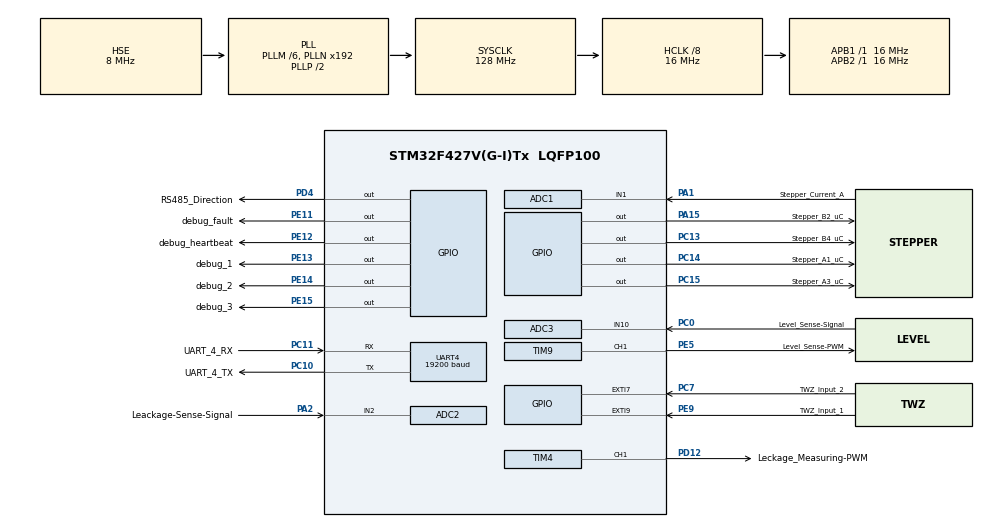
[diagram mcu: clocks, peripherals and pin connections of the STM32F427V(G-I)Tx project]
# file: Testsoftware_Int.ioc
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ADC1.Channel-5\#ChannelRegularConversion=ADC_CHANNEL_1
ADC1.ClockPrescaler=ADC_CLOCK_SYNC_PCLK_DIV8
ADC1.ContinuousConvMode=ENABLE
ADC1.NbrOfConversionFlag=1
ADC1.Rank-5\#ChannelRegularConversion=1
ADC1.SamplingTime-5\#ChannelRegularConversion=ADC_SAMPLETIME_3CYCLES
ADC1.master=1
ADC2.Channel-4\#ChannelRegularConversion=ADC_CHANNEL_2
ADC2.ClockPrescaler=ADC_CLOCK_SYNC_PCLK_DIV8
ADC2.ContinuousConvMode=ENABLE
ADC2.NbrOfConversionFlag=1
ADC2.Rank-4\#ChannelRegularConversion=1
ADC2.SamplingTime-4\#ChannelRegularConversion=ADC_SAMPLETIME_3CYCLES
ADC3.Channel-0\#ChannelRegularConversion=ADC_CHANNEL_10
ADC3.ClockPrescaler=ADC_CLOCK_SYNC_PCLK_DIV8
ADC3.ContinuousConvMode=ENABLE
ADC3.NbrOfConversionFlag=1
ADC3.Rank-0\#ChannelRegularConversion=1
ADC3.SamplingTime-0\#ChannelRegularConversion=ADC_SAMPLETIME_3CYCLES
Mcu.Family=STM32F4
Mcu.Name=STM32F427V(G-I)Tx
Mcu.Package=LQFP100
NVIC.EXTI9_5_IRQn=true\:13\:0\:true\:false\:true\:true\:true\:true
NVIC.PriorityGroup=NVIC_PRIORITYGROUP_4
NVIC.RCC_IRQn=true\:14\:0\:true\:false\:true\:true\:false\:true
NVIC.TIM1_UP_TIM10_IRQn=true\:0\:0\:false\:false\:true\:true\:true\:true
NVIC.UART4_IRQn=true\:0\:0\:false\:false\:true\:true\:true\:true
PA1.GPIO_Label=Stepper_Current_A
PA1.Signal=ADCx_IN1
PA13.Mode=Serial_Wire
PA13.Signal=SYS_JTMS-SWDIO
PA14.Mode=Serial_Wire
PA14.Signal=SYS_JTCK-SWCLK
PA15.GPIO_Label=Stepper_B2_uC
PA15.Signal=GPIO_Output
PA2.GPIO_Label=Leackage-Sense-Signal
PA2.Signal=ADCx_IN2
PC0.GPIO_Label=Level_Sense-Signal
PC0.Signal=ADCx_IN10
PC10.GPIO_Label=UART_4_TX
PC10.Mode=Asynchronous
PC10.Signal=UART4_TX
PC11.GPIO_Label=UART_4_RX
PC11.Mode=Asynchronous
PC11.Signal=UART4_RX
PC13.GPIO_Label=Stepper_B4_uC
PC13.Signal=GPIO_Output
PC14/OSC32_IN.GPIO_Label=Stepper_A1_uC
PC14/OSC32_IN.Signal=GPIO_Output
PC15/OSC32_OUT.GPIO_Label=Stepper_A3_uC
PC15/OSC32_OUT.Signal=GPIO_Output
PC7.GPIO_Label=TWZ_Input_2
PC7.Signal=GPXTI7
PD12.GPIO_Label=Leckage_Measuring-PWM
PD12.Signal=S_TIM4_CH1
PD4.GPIO_Label=RS485_Direction
PD4.Signal=GPIO_Output
PE11.GPIO_Label=debug_fault
PE11.Signal=GPIO_Output
PE12.GPIO_Label=debug_heartbeat
PE12.Signal=GPIO_Output
PE13.GPIO_Label=debug_1
PE13.Signal=GPIO_Output
PE14.GPIO_Label=debug_2
PE14.Signal=GPIO_Output
PE15.GPIO_Label=debug_3
PE15.Signal=GPIO_Output
PE5.GPIO_Label=Level_Sense-PWM
PE5.Signal=S_TIM9_CH1
PE9.GPIO_Label=TWZ_Input_1
PE9.Signal=GPXTI9
PH0/OSC_IN.Mode=HSE-External-Oscillator
PH0/OSC_IN.Signal=RCC_OSC_IN
PH1/OSC_OUT.Mode=HSE-External-Oscillator
PH1/OSC_OUT.Signal=RCC_OSC_OUT
ProjectManager.HeapSize=0x200
ProjectManager.StackSize=0x400
ProjectManager.TargetToolchain=STM32CubeIDE
RCC.48MHZClocksFreq_Value=64000000
RCC.AHBCLKDivider=RCC_SYSCLK_DIV8
RCC.AHBFreq_Value=16000000
RCC.APB1Freq_Value=16000000
RCC.APB1TimFreq_Value=16000000
RCC.APB2Freq_Value=16000000
RCC.APB2TimFreq_Value=16000000
RCC.CortexFreq_Value=16000000
RCC.HCLKFreq_Value=16000000
RCC.HSE_VALUE=8000000
RCC.HSI_VALUE=16000000
RCC.LSE_VALUE=32768
RCC.PLLM=6
RCC.PLLSourceVirtual=RCC_PLLSOURCE_HSE
RCC.SYSCLKFreq_VALUE=128000000
RCC.SYSCLKSource=RCC_SYSCLKSOURCE_PLLCLK
RCC.VCOOutputFreq_Value=256000000
SH.ADCx_IN1.0=ADC1_IN1,IN1
SH.ADCx_IN10.0=ADC3_IN10,IN10
SH.ADCx_IN2.0=ADC2_IN2,IN2
SH.S_TIM4_CH1.0=TIM4_CH1,PWM Generation1 CH1
SH.S_TIM9_CH1.0=TIM9_CH1,PWM Generation1 CH1
TIM1.Period=99
TIM1.Prescaler=15
TIM2.AutoReloadPreload=TIM_AUTORELOAD_PRELOAD_ENABLE
TIM2.Period=65535
TIM2.Prescaler=47
TIM4.AutoReloadPreload=TIM_AUTORELOAD_PRELOAD_DISABLE
TIM4.Channel-Output\ Compare2\ No\ Output=TIM_CHANNEL_2
TIM4.Channel-PWM\ Generation1\ CH1=TIM_CHANNEL_1
TIM4.OC1Preload_PWM=DISABLE
TIM4.Period=99
TIM4.Prescaler=15
TIM4.Pulse-PWM\ Generation1\ CH1=50
TIM9.Channel-PWM\ Generation1\ CH1=TIM_CHANNEL_1
TIM9.OC1Preload_PWM=DISABLE
TIM9.Period=99
TIM9.Prescaler=15
TIM9.Pulse-PWM\ Generation1\ CH1=50
UART4.BaudRate=19200
UART4.VirtualMode=Asynchronous
VP_TIM10_VS_ClockSourceINT.Mode=Enable_Timer
VP_TIM1_VS_ClockSourceINT.Mode=Internal
VP_TIM2_VS_ClockSourceINT.Mode=Internal
VP_TIM4_VS_ClockSourceINT.Mode=Internal
VP_TIM4_VS_no_output2.Mode=Output Compare2 No Output
VP_TIM9_VS_ClockSourceINT.Mode=Internal
board=custom

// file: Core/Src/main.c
/* USER CODE BEGIN Header */
/**
 ******************************************************************************
 * @file           : main.c
 * @brief          : Main program body
 ******************************************************************************
 * @attention
 *
 * Copyright (c) 2026 STMicroelectronics.
 * All rights reserved.
 *
 * This software is licensed under terms that can be found in the LICENSE file
 * in the root directory of this software component.
 * If no LICENSE file comes with this software, it is provided AS-IS.
 *
 ******************************************************************************
 */
/* USER CODE END Header */
#include "main.h"

/* USER CODE BEGIN Includes */
#include "ModbusRTU_Registers.h"
#include "ModbusRTU_Logic.h"
#include "ModbusRTU_Comm.h"
#include "periphals.h"
#include <stdint.h>
#include <stdlib.h>

/* USER CODE END Includes */

ADC_HandleTypeDef hadc1;
ADC_HandleTypeDef hadc2;
ADC_HandleTypeDef hadc3;

TIM_HandleTypeDef htim1;
TIM_HandleTypeDef htim2;
TIM_HandleTypeDef htim4;
TIM_HandleTypeDef htim9;
TIM_HandleTypeDef htim10;

UART_HandleTypeDef huart4;

/* USER CODE BEGIN PV */
volatile uint32_t heartbeat_counter = 0;

volatile uint32_t freq_counter = 0;

extern uint8_t beep;
stepper Stepper_1;
StepperPins Stepper_1_Pins = {
Stepper_A1_uC_GPIO_Port, Stepper_A1_uC_Pin,
Stepper_A3_uC_GPIO_Port, Stepper_A3_uC_Pin,
Stepper_B2_uC_GPIO_Port, Stepper_B2_uC_Pin,
Stepper_B4_uC_GPIO_Port, Stepper_B4_uC_Pin };

conductivity Level_sensing;
conductivity Leackage;
volatile float level_voltage_threshold = 2.0;
volatile float leackage_voltage_threshold = 2.0;

volatile uint32_t flowmeter_outlet_counter;
volatile uint32_t flowmeter_regeneration_counter;
flowmeter Flowmeter_Outlet;
flowmeter Flowmeter_Regeneration;

uint16_t slave_adress = 0x02;
bool uart_rx_callback_completed = false;
uint8_t rx_buffer_temp[MODBUS_MAX_MESSAGE_LENGTH]; // Temporary receive buffer
uint8_t rx_temp_byte;                           // temporary byte
uint16_t rx_index = 0;                         // note index
//volatile uint32_t adc_leackage = 0;
/* USER CODE END PV */

void SystemClock_Config(void);
static void MX_GPIO_Init(void);
static void MX_ADC1_Init(void);
static void MX_ADC2_Init(void);
static void MX_TIM1_Init(void);
static void MX_TIM4_Init(void);
static void MX_TIM9_Init(void);
static void MX_TIM10_Init(void);
static void MX_UART4_Init(void);
static void MX_ADC3_Init(void);
static void MX_TIM2_Init(void);

int main(void) {

	/* MCU Configuration--------------------------------------------------------*/

	/* Reset of all peripherals, Initializes the Flash interface and the Systick. */
	HAL_Init();

	/* Configure the system clock */
	SystemClock_Config();

	/* Initialize all configured peripherals */
	MX_GPIO_Init();
	MX_ADC1_Init();
	MX_ADC2_Init();
	MX_TIM1_Init();
	MX_TIM4_Init();
	MX_TIM9_Init();
	MX_TIM10_Init();
	MX_UART4_Init();
	MX_ADC3_Init();
	MX_TIM2_Init();
	/* USER CODE BEGIN 2 */
	initialize_peripherals();

	//Stepper1 Init
	stepper_init_hardware(&Stepper_1, &Stepper_1_Pins);
	stepper_init_parameters(&Stepper_1, 200, 80, 10000, 0);
	uint32_t positions[6] = { 0, 1000, 2000, 3000, 4000, 5000 };
	//stepper_init_positions(&Stepper_1, positions); //uncomment if removing beep

	//RS485 Init

	analogue_holding_registers[HOLDING_REG_SLAVE_ADDRESS] = slave_adress; // set slave address
	HAL_UART_Receive_IT(&huart4, &rx_temp_byte, 1); // Pause at a length of 3.5 characters according to the Modbus definition
	//HAL_UARTEx_ReceiveToIdle_IT(&huart1, rx_buffer_temp, MODBUS_MAX_MESSAGE_LENGTH); // Pause already at a single character length

	//Resetting Buffer
	memset(rx_buffer, 0, sizeof(rx_buffer));
	memset(rx_buffer_temp, 0, sizeof(rx_buffer_temp));

	//conductivity-Sensing Init
	conductivity_init(&Leackage, leackage_voltage_threshold, hadc2,
	ADC_CHANNEL_2);
	conductivity_init(&Level_sensing, level_voltage_threshold, hadc3,
	ADC_CHANNEL_10);

	//Flowmeter_init
	flowmeter_init(&Flowmeter_Regeneration, 500, 3.90625, 1802.0, 83080.0);
	flowmeter_init(&Flowmeter_Outlet, 500, 3.90625, 1802.0, 83080.0);
	//starting timers
	HAL_TIM_Base_Start_IT(&htim1);
	HAL_TIM_PWM_Start(&htim4, TIM_CHANNEL_1);
	HAL_TIM_PWM_Start(&htim9, TIM_CHANNEL_1);

	//starting ADCs
	HAL_ADC_Start(&hadc1);
	HAL_ADC_Start(&hadc2);
	HAL_ADC_Start(&hadc3);
	/*
	 if (HAL_ADCEx_Calibration_Start(&hadc1) != HAL_OK)
	 {
	 Error_Handler(); // Calibration error
	 }
	 */

	//do beep
	stepper_sound(&Stepper_1);

	//init again because beep
	stepper_init_parameters(&Stepper_1, 200, 80, 10000, 100);
	stepper_init_positions(&Stepper_1, positions);

	//make stepper move
	stepper_set_drivefreq_high(&Stepper_1);
	//stepper_set_target(&Stepper_1, 3);
	stepper_reference(&Stepper_1);

	/* USER CODE END 2 */

	/* Infinite loop */
	/* USER CODE BEGIN WHILE */
	while (1) {

		if (uart_rx_callback_completed) {
			modbus_receive_message(&huart4);
			uart_rx_callback_completed = 0;
		}

		analogue_input_registers[INPUT_REG_OUTPUT_VOLTAGE_1] = 10000;
		/*
		 HAL_ADC_Start(&hadc2);
		 HAL_ADC_PollForConversion(&hadc2, 50);
		 adc_leackage = HAL_ADC_GetValue(&hadc2);
		 */
		if (conductivity_level_reached(&Leackage)) {
			HAL_GPIO_WritePin(debug_2_GPIO_Port, debug_2_Pin, RESET);
		} else {
			HAL_GPIO_WritePin(debug_2_GPIO_Port, debug_2_Pin, SET);
		}
		/*
		 HAL_ADC_Start(&hadc3);
		 HAL_ADC_PollForConversion(&hadc3, 50);
		 adc_leackage = HAL_ADC_GetValue(&hadc3);
		 */
		if (conductivity_level_reached(&Level_sensing)) {
			HAL_GPIO_WritePin(debug_2_GPIO_Port, debug_2_Pin, RESET);
		} else {
			HAL_GPIO_WritePin(debug_2_GPIO_Port, debug_2_Pin, SET);
		}

		if (1) {
			if (flowmeter_get_flow(&Flowmeter_Outlet) > 1.0) {
				HAL_GPIO_WritePin(debug_1_GPIO_Port, debug_1_Pin, SET);
			} else {
				HAL_GPIO_WritePin(debug_1_GPIO_Port, debug_1_Pin, RESET);

			}
		}

		if (1) {
			if (flowmeter_get_flow(&Flowmeter_Regeneration) > 1.0) {
				HAL_GPIO_WritePin(debug_1_GPIO_Port, debug_1_Pin, SET);
			} else {
				HAL_GPIO_WritePin(debug_1_GPIO_Port, debug_1_Pin, RESET);

			}
		}

		if (Stepper_1.current_sum > Stepper_1.stall_limit) {
			HAL_GPIO_WritePin(debug_3_GPIO_Port, debug_3_Pin, SET);
		} else {
			HAL_GPIO_WritePin(debug_3_GPIO_Port, debug_3_Pin, RESET);
		}
		/* USER CODE END WHILE */

	}
}

void SystemClock_Config(void) {
	RCC_OscInitTypeDef RCC_OscInitStruct = { 0 };
	RCC_ClkInitTypeDef RCC_ClkInitStruct = { 0 };

	/** Configure the main internal regulator output voltage
	 */
	__HAL_RCC_PWR_CLK_ENABLE();
	__HAL_PWR_VOLTAGESCALING_CONFIG(PWR_REGULATOR_VOLTAGE_SCALE3);

	/** Initializes the RCC Oscillators according to the specified parameters
	 * in the RCC_OscInitTypeDef structure.
	 */
	RCC_OscInitStruct.OscillatorType = RCC_OSCILLATORTYPE_HSE;
	RCC_OscInitStruct.HSEState = RCC_HSE_ON;
	RCC_OscInitStruct.PLL.PLLState = RCC_PLL_ON;
	RCC_OscInitStruct.PLL.PLLSource = RCC_PLLSOURCE_HSE;
	RCC_OscInitStruct.PLL.PLLM = 6;
	RCC_OscInitStruct.PLL.PLLN = 192;
	RCC_OscInitStruct.PLL.PLLP = RCC_PLLP_DIV2;
	RCC_OscInitStruct.PLL.PLLQ = 4;
	if (HAL_RCC_OscConfig(&RCC_OscInitStruct) != HAL_OK) {
		Error_Handler();
	}

	/** Initializes the CPU, AHB and APB buses clocks
	 */
	RCC_ClkInitStruct.ClockType = RCC_CLOCKTYPE_HCLK | RCC_CLOCKTYPE_SYSCLK
			| RCC_CLOCKTYPE_PCLK1 | RCC_CLOCKTYPE_PCLK2;
	RCC_ClkInitStruct.SYSCLKSource = RCC_SYSCLKSOURCE_PLLCLK;
	RCC_ClkInitStruct.AHBCLKDivider = RCC_SYSCLK_DIV8;
	RCC_ClkInitStruct.APB1CLKDivider = RCC_HCLK_DIV1;
	RCC_ClkInitStruct.APB2CLKDivider = RCC_HCLK_DIV1;

	if (HAL_RCC_ClockConfig(&RCC_ClkInitStruct, FLASH_LATENCY_0) != HAL_OK) {
		Error_Handler();
	}
}

static void MX_ADC1_Init(void) {

	ADC_ChannelConfTypeDef sConfig = { 0 };

	/** Configure the global features of the ADC (Clock, Resolution, Data Alignment and number of conversion)
	 */
	hadc1.Instance = ADC1;
	hadc1.Init.ClockPrescaler = ADC_CLOCK_SYNC_PCLK_DIV8;
	hadc1.Init.Resolution = ADC_RESOLUTION_12B;
	hadc1.Init.ScanConvMode = DISABLE;
	hadc1.Init.ContinuousConvMode = ENABLE;
	hadc1.Init.DiscontinuousConvMode = DISABLE;
	hadc1.Init.ExternalTrigConvEdge = ADC_EXTERNALTRIGCONVEDGE_NONE;
	hadc1.Init.ExternalTrigConv = ADC_SOFTWARE_START;
	hadc1.Init.DataAlign = ADC_DATAALIGN_RIGHT;
	hadc1.Init.NbrOfConversion = 1;
	hadc1.Init.DMAContinuousRequests = DISABLE;
	hadc1.Init.EOCSelection = ADC_EOC_SINGLE_CONV;
	if (HAL_ADC_Init(&hadc1) != HAL_OK) {
		Error_Handler();
	}

	/** Configure for the selected ADC regular channel its corresponding rank in the sequencer and its sample time.
	 */
	sConfig.Channel = ADC_CHANNEL_1;
	sConfig.Rank = 1;
	sConfig.SamplingTime = ADC_SAMPLETIME_3CYCLES;
	if (HAL_ADC_ConfigChannel(&hadc1, &sConfig) != HAL_OK) {
		Error_Handler();
	}

}

static void MX_ADC2_Init(void) {

	ADC_ChannelConfTypeDef sConfig = { 0 };

	/** Configure the global features of the ADC (Clock, Resolution, Data Alignment and number of conversion)
	 */
	hadc2.Instance = ADC2;
	hadc2.Init.ClockPrescaler = ADC_CLOCK_SYNC_PCLK_DIV8;
	hadc2.Init.Resolution = ADC_RESOLUTION_12B;
	hadc2.Init.ScanConvMode = DISABLE;
	hadc2.Init.ContinuousConvMode = ENABLE;
	hadc2.Init.DiscontinuousConvMode = DISABLE;
	hadc2.Init.ExternalTrigConvEdge = ADC_EXTERNALTRIGCONVEDGE_NONE;
	hadc2.Init.ExternalTrigConv = ADC_SOFTWARE_START;
	hadc2.Init.DataAlign = ADC_DATAALIGN_RIGHT;
	hadc2.Init.NbrOfConversion = 1;
	hadc2.Init.DMAContinuousRequests = DISABLE;
	hadc2.Init.EOCSelection = ADC_EOC_SINGLE_CONV;
	if (HAL_ADC_Init(&hadc2) != HAL_OK) {
		Error_Handler();
	}

	/** Configure for the selected ADC regular channel its corresponding rank in the sequencer and its sample time.
	 */
	sConfig.Channel = ADC_CHANNEL_2;
	sConfig.Rank = 1;
	sConfig.SamplingTime = ADC_SAMPLETIME_3CYCLES;
	if (HAL_ADC_ConfigChannel(&hadc2, &sConfig) != HAL_OK) {
		Error_Handler();
	}

}

static void MX_ADC3_Init(void) {

	ADC_ChannelConfTypeDef sConfig = { 0 };

	/** Configure the global features of the ADC (Clock, Resolution, Data Alignment and number of conversion)
	 */
	hadc3.Instance = ADC3;
	hadc3.Init.ClockPrescaler = ADC_CLOCK_SYNC_PCLK_DIV8;
	hadc3.Init.Resolution = ADC_RESOLUTION_12B;
	hadc3.Init.ScanConvMode = DISABLE;
	hadc3.Init.ContinuousConvMode = ENABLE;
	hadc3.Init.DiscontinuousConvMode = DISABLE;
	hadc3.Init.ExternalTrigConvEdge = ADC_EXTERNALTRIGCONVEDGE_NONE;
	hadc3.Init.ExternalTrigConv = ADC_SOFTWARE_START;
	hadc3.Init.DataAlign = ADC_DATAALIGN_RIGHT;
	hadc3.Init.NbrOfConversion = 1;
	hadc3.Init.DMAContinuousRequests = DISABLE;
	hadc3.Init.EOCSelection = ADC_EOC_SINGLE_CONV;
	if (HAL_ADC_Init(&hadc3) != HAL_OK) {
		Error_Handler();
	}

	/** Configure for the selected ADC regular channel its corresponding rank in the sequencer and its sample time.
	 */
	sConfig.Channel = ADC_CHANNEL_10;
	sConfig.Rank = 1;
	sConfig.SamplingTime = ADC_SAMPLETIME_3CYCLES;
	if (HAL_ADC_ConfigChannel(&hadc3, &sConfig) != HAL_OK) {
		Error_Handler();
	}

}

static void MX_TIM1_Init(void) {

	TIM_ClockConfigTypeDef sClockSourceConfig = { 0 };
	TIM_MasterConfigTypeDef sMasterConfig = { 0 };

	htim1.Instance = TIM1;
	htim1.Init.Prescaler = 15;
	htim1.Init.CounterMode = TIM_COUNTERMODE_UP;
	htim1.Init.Period = 99;
	htim1.Init.ClockDivision = TIM_CLOCKDIVISION_DIV1;
	htim1.Init.RepetitionCounter = 0;
	htim1.Init.AutoReloadPreload = TIM_AUTORELOAD_PRELOAD_DISABLE;
	if (HAL_TIM_Base_Init(&htim1) != HAL_OK) {
		Error_Handler();
	}
	sClockSourceConfig.ClockSource = TIM_CLOCKSOURCE_INTERNAL;
	if (HAL_TIM_ConfigClockSource(&htim1, &sClockSourceConfig) != HAL_OK) {
		Error_Handler();
	}
	sMasterConfig.MasterOutputTrigger = TIM_TRGO_RESET;
	sMasterConfig.MasterSlaveMode = TIM_MASTERSLAVEMODE_DISABLE;
	if (HAL_TIMEx_MasterConfigSynchronization(&htim1, &sMasterConfig)
			!= HAL_OK) {
		Error_Handler();
	}

}

static void MX_TIM2_Init(void) {

	TIM_ClockConfigTypeDef sClockSourceConfig = { 0 };
	TIM_MasterConfigTypeDef sMasterConfig = { 0 };

	htim2.Instance = TIM2;
	htim2.Init.Prescaler = 47;
	htim2.Init.CounterMode = TIM_COUNTERMODE_UP;
	htim2.Init.Period = 65535;
	htim2.Init.ClockDivision = TIM_CLOCKDIVISION_DIV1;
	htim2.Init.AutoReloadPreload = TIM_AUTORELOAD_PRELOAD_ENABLE;
	if (HAL_TIM_Base_Init(&htim2) != HAL_OK) {
		Error_Handler();
	}
	sClockSourceConfig.ClockSource = TIM_CLOCKSOURCE_INTERNAL;
	if (HAL_TIM_ConfigClockSource(&htim2, &sClockSourceConfig) != HAL_OK) {
		Error_Handler();
	}
	sMasterConfig.MasterOutputTrigger = TIM_TRGO_RESET;
	sMasterConfig.MasterSlaveMode = TIM_MASTERSLAVEMODE_DISABLE;
	if (HAL_TIMEx_MasterConfigSynchronization(&htim2, &sMasterConfig)
			!= HAL_OK) {
		Error_Handler();
	}

}

static void MX_TIM4_Init(void) {

	TIM_ClockConfigTypeDef sClockSourceConfig = { 0 };
	TIM_MasterConfigTypeDef sMasterConfig = { 0 };
	TIM_OC_InitTypeDef sConfigOC = { 0 };

	htim4.Instance = TIM4;
	htim4.Init.Prescaler = 15;
	htim4.Init.CounterMode = TIM_COUNTERMODE_UP;
	htim4.Init.Period = 99;
	htim4.Init.ClockDivision = TIM_CLOCKDIVISION_DIV1;
	htim4.Init.AutoReloadPreload = TIM_AUTORELOAD_PRELOAD_DISABLE;
	if (HAL_TIM_Base_Init(&htim4) != HAL_OK) {
		Error_Handler();
	}
	sClockSourceConfig.ClockSource = TIM_CLOCKSOURCE_INTERNAL;
	if (HAL_TIM_ConfigClockSource(&htim4, &sClockSourceConfig) != HAL_OK) {
		Error_Handler();
	}
	if (HAL_TIM_PWM_Init(&htim4) != HAL_OK) {
		Error_Handler();
	}
	if (HAL_TIM_OC_Init(&htim4) != HAL_OK) {
		Error_Handler();
	}
	sMasterConfig.MasterOutputTrigger = TIM_TRGO_RESET;
	sMasterConfig.MasterSlaveMode = TIM_MASTERSLAVEMODE_DISABLE;
	if (HAL_TIMEx_MasterConfigSynchronization(&htim4, &sMasterConfig)
			!= HAL_OK) {
		Error_Handler();
	}
	sConfigOC.OCMode = TIM_OCMODE_PWM1;
	sConfigOC.Pulse = 50;
	sConfigOC.OCPolarity = TIM_OCPOLARITY_HIGH;
	sConfigOC.OCFastMode = TIM_OCFAST_DISABLE;
	if (HAL_TIM_PWM_ConfigChannel(&htim4, &sConfigOC, TIM_CHANNEL_1)
			!= HAL_OK) {
		Error_Handler();
	}
	__HAL_TIM_DISABLE_OCxPRELOAD(&htim4, TIM_CHANNEL_1);
	sConfigOC.OCMode = TIM_OCMODE_TIMING;
	sConfigOC.Pulse = 0;
	if (HAL_TIM_OC_ConfigChannel(&htim4, &sConfigOC, TIM_CHANNEL_2) != HAL_OK) {
		Error_Handler();
	}
	HAL_TIM_MspPostInit(&htim4);

}

static void MX_TIM9_Init(void) {

	TIM_ClockConfigTypeDef sClockSourceConfig = { 0 };
	TIM_OC_InitTypeDef sConfigOC = { 0 };

	htim9.Instance = TIM9;
	htim9.Init.Prescaler = 15;
	htim9.Init.CounterMode = TIM_COUNTERMODE_UP;
	htim9.Init.Period = 99;
	htim9.Init.ClockDivision = TIM_CLOCKDIVISION_DIV1;
	htim9.Init.AutoReloadPreload = TIM_AUTORELOAD_PRELOAD_DISABLE;
	if (HAL_TIM_Base_Init(&htim9) != HAL_OK) {
		Error_Handler();
	}
	sClockSourceConfig.ClockSource = TIM_CLOCKSOURCE_INTERNAL;
	if (HAL_TIM_ConfigClockSource(&htim9, &sClockSourceConfig) != HAL_OK) {
		Error_Handler();
	}
	if (HAL_TIM_PWM_Init(&htim9) != HAL_OK) {
		Error_Handler();
	}
	sConfigOC.OCMode = TIM_OCMODE_PWM1;
	sConfigOC.Pulse = 50;
	sConfigOC.OCPolarity = TIM_OCPOLARITY_HIGH;
	sConfigOC.OCFastMode = TIM_OCFAST_DISABLE;
	if (HAL_TIM_PWM_ConfigChannel(&htim9, &sConfigOC, TIM_CHANNEL_1)
			!= HAL_OK) {
		Error_Handler();
	}
	__HAL_TIM_DISABLE_OCxPRELOAD(&htim9, TIM_CHANNEL_1);
	HAL_TIM_MspPostInit(&htim9);

}

static void MX_TIM10_Init(void) {

	htim10.Instance = TIM10;
	htim10.Init.Prescaler = 0;
	htim10.Init.CounterMode = TIM_COUNTERMODE_UP;
	htim10.Init.Period = 65535;
	htim10.Init.ClockDivision = TIM_CLOCKDIVISION_DIV1;
	htim10.Init.AutoReloadPreload = TIM_AUTORELOAD_PRELOAD_DISABLE;
	if (HAL_TIM_Base_Init(&htim10) != HAL_OK) {
		Error_Handler();
	}

}

static void MX_UART4_Init(void) {

	huart4.Instance = UART4;
	huart4.Init.BaudRate = 19200;
	huart4.Init.WordLength = UART_WORDLENGTH_8B;
	huart4.Init.StopBits = UART_STOPBITS_1;
	huart4.Init.Parity = UART_PARITY_NONE;
	huart4.Init.Mode = UART_MODE_TX_RX;
	huart4.Init.HwFlowCtl = UART_HWCONTROL_NONE;
	huart4.Init.OverSampling = UART_OVERSAMPLING_16;
	if (HAL_UART_Init(&huart4) != HAL_OK) {
		Error_Handler();
	}

}

static void MX_GPIO_Init(void) {
	GPIO_InitTypeDef GPIO_InitStruct = { 0 };

	/* GPIO Ports Clock Enable */
	__HAL_RCC_GPIOE_CLK_ENABLE();
	__HAL_RCC_GPIOC_CLK_ENABLE();
	__HAL_RCC_GPIOH_CLK_ENABLE();
	__HAL_RCC_GPIOA_CLK_ENABLE();
	__HAL_RCC_GPIOD_CLK_ENABLE();

	/*Configure GPIO pin Output Level */
	HAL_GPIO_WritePin(GPIOC,
	Stepper_B4_uC_Pin | Stepper_A1_uC_Pin | Stepper_A3_uC_Pin, GPIO_PIN_RESET);

	/*Configure GPIO pin Output Level */
	HAL_GPIO_WritePin(GPIOE,
			debug_fault_Pin | debug_heartbeat_Pin | debug_1_Pin | debug_2_Pin
					| debug_3_Pin, GPIO_PIN_RESET);

	/*Configure GPIO pin Output Level */
	HAL_GPIO_WritePin(Stepper_B2_uC_GPIO_Port, Stepper_B2_uC_Pin,
			GPIO_PIN_RESET);

	/*Configure GPIO pin Output Level */
	HAL_GPIO_WritePin(RS485_Direction_GPIO_Port, RS485_Direction_Pin,
			GPIO_PIN_RESET);

	/*Configure GPIO pins : Stepper_B4_uC_Pin Stepper_A1_uC_Pin Stepper_A3_uC_Pin */
	GPIO_InitStruct.Pin = Stepper_B4_uC_Pin | Stepper_A1_uC_Pin
			| Stepper_A3_uC_Pin;
	GPIO_InitStruct.Mode = GPIO_MODE_OUTPUT_PP;
	GPIO_InitStruct.Pull = GPIO_NOPULL;
	GPIO_InitStruct.Speed = GPIO_SPEED_FREQ_LOW;
	HAL_GPIO_Init(GPIOC, &GPIO_InitStruct);

	/*Configure GPIO pin : TWZ_Input_1_Pin */
	GPIO_InitStruct.Pin = TWZ_Input_1_Pin;
	GPIO_InitStruct.Mode = GPIO_MODE_IT_RISING;
	GPIO_InitStruct.Pull = GPIO_NOPULL;
	HAL_GPIO_Init(TWZ_Input_1_GPIO_Port, &GPIO_InitStruct);

	/*Configure GPIO pins : debug_fault_Pin debug_heartbeat_Pin debug_1_Pin debug_2_Pin
	 debug_3_Pin */
	GPIO_InitStruct.Pin = debug_fault_Pin | debug_heartbeat_Pin | debug_1_Pin
			| debug_2_Pin | debug_3_Pin;
	GPIO_InitStruct.Mode = GPIO_MODE_OUTPUT_PP;
	GPIO_InitStruct.Pull = GPIO_NOPULL;
	GPIO_InitStruct.Speed = GPIO_SPEED_FREQ_LOW;
	HAL_GPIO_Init(GPIOE, &GPIO_InitStruct);

	/*Configure GPIO pin : TWZ_Input_2_Pin */
	GPIO_InitStruct.Pin = TWZ_Input_2_Pin;
	GPIO_InitStruct.Mode = GPIO_MODE_IT_RISING;
	GPIO_InitStruct.Pull = GPIO_NOPULL;
	HAL_GPIO_Init(TWZ_Input_2_GPIO_Port, &GPIO_InitStruct);

	/*Configure GPIO pin : Stepper_B2_uC_Pin */
	GPIO_InitStruct.Pin = Stepper_B2_uC_Pin;
	GPIO_InitStruct.Mode = GPIO_MODE_OUTPUT_PP;
	GPIO_InitStruct.Pull = GPIO_NOPULL;
	GPIO_InitStruct.Speed = GPIO_SPEED_FREQ_LOW;
	HAL_GPIO_Init(Stepper_B2_uC_GPIO_Port, &GPIO_InitStruct);

	/*Configure GPIO pin : RS485_Direction_Pin */
	GPIO_InitStruct.Pin = RS485_Direction_Pin;
	GPIO_InitStruct.Mode = GPIO_MODE_OUTPUT_PP;
	GPIO_InitStruct.Pull = GPIO_NOPULL;
	GPIO_InitStruct.Speed = GPIO_SPEED_FREQ_LOW;
	HAL_GPIO_Init(RS485_Direction_GPIO_Port, &GPIO_InitStruct);

	/* EXTI interrupt init*/
	HAL_NVIC_SetPriority(EXTI9_5_IRQn, 13, 0);
	HAL_NVIC_EnableIRQ(EXTI9_5_IRQn);

}

/* USER CODE BEGIN 4 */
void HAL_GPIO_EXTI_Callback(uint16_t GPIO_Pin) {
	if (GPIO_Pin == TWZ_Input_1_Pin) {
		flowmeter_add_pulse(&Flowmeter_Regeneration);
		//HAL_GPIO_TogglePin(debug_1_GPIO_Port, debug_1_Pin);
	}
	if (GPIO_Pin == TWZ_Input_2_Pin) {
		flowmeter_add_pulse(&Flowmeter_Outlet);
		//HAL_GPIO_TogglePin(debug_2_GPIO_Port, debug_2_Pin);
	}
}

// function for HAL_UARTEx_Receive_IT
void HAL_UART_RxCpltCallback(UART_HandleTypeDef *huart) {

	if (huart->Instance == UART4) {
		if (rx_index < MODBUS_MAX_MESSAGE_LENGTH) {
			rx_buffer_temp[rx_index++] = rx_temp_byte;
		} else {
			modbus_error_handler(MODBUS_ERR_ILLEGAL_DATA_VALUE);
			rx_index = 0;
		}

		__HAL_TIM_SET_COUNTER(&htim2, 0);
		HAL_TIM_Base_Start_IT(&htim2);

		// get next byte
		HAL_UART_Receive_IT(&huart4, &rx_temp_byte, 1);
	}
}

void HAL_TIM_PeriodElapsedCallback(TIM_HandleTypeDef *htim) {

	static uint16_t ramp_i = 20;          // zählt 0..100
	static uint16_t start_psc = 500;      // langsam (anpassen!)
	static uint16_t target_psc = 1;      // wird beim Start übernommen
	static uint32_t current = 0;      // wird beim Start übernommen

	if (htim->Instance == TIM1) {
		if (beep == 1 || Stepper_1.mode == STEPPER_REFERENCING) {

			// Rampe killen: sofort Zielgeschwindigkeit
			if (freq_counter >= Stepper_1.drive_psc) {
				stepper_tick(&Stepper_1);
				freq_counter = 0;

			} else {
				if (freq_counter == (Stepper_1.drive_psc / 2)) {
					Stepper_1.current_last = Stepper_1.current_recent;
					Stepper_1.current_recent = HAL_ADC_GetValue(&hadc3);
					Stepper_1.current_diff_3 = Stepper_1.current_diff_2;
					Stepper_1.current_diff_2 = Stepper_1.current_diff_1;
					Stepper_1.current_diff_1 =
							(int32_t) Stepper_1.current_recent
									- (int32_t) Stepper_1.current_last;
					Stepper_1.current_sum = labs(Stepper_1.current_diff_1)
							+ labs(Stepper_1.current_diff_2)
							+ labs(Stepper_1.current_diff_3);
					current = Stepper_1.current_sum;
				}
				freq_counter++;
			}

		} else {
			// Start der Rampe
			if (Stepper_1.start_sequence == 1) {
				target_psc = Stepper_1.drive_psc;  // Ziel merken
				Stepper_1.drive_psc = start_psc;   // langsam starten
				ramp_i = 0;
				Stepper_1.start_sequence = 0;
			}

			// Step-Auslösung über Divider
			if (freq_counter >= Stepper_1.drive_psc) {
				stepper_tick(&Stepper_1);
				freq_counter = 1;

				// Rampe: nach JEDEM Schritt 100x schneller werden
				if (ramp_i < 20) {
					// linear von start_psc -> target_psc
					Stepper_1.drive_psc = start_psc
							- ((start_psc - target_psc) * ramp_i) / 20;
					ramp_i++;
				} else {
					Stepper_1.drive_psc = target_psc; // fertig

				}
			} else {
				freq_counter++;
			}

		}

		if (flowmeter_outlet_counter >= Flowmeter_Outlet.psc) {
			flowmeter_calc_flow(&Flowmeter_Outlet);
			flowmeter_outlet_counter = 0;
		} else {
			flowmeter_outlet_counter++;
		}

		if (flowmeter_regeneration_counter >= Flowmeter_Regeneration.psc) {
			flowmeter_calc_flow(&Flowmeter_Regeneration);
			flowmeter_regeneration_counter = 0;
		} else {
			flowmeter_regeneration_counter++;
		}

	}
	if (htim->Instance == TIM2) {
		HAL_TIM_Base_Stop_IT(&htim2);
		__HAL_TIM_SET_COUNTER(&htim2, 0);

		// Validate the slave address
		if (rx_buffer_temp[0]
				== analogue_holding_registers[HOLDING_REG_SLAVE_ADDRESS]
				|| rx_buffer_temp[0] == 0) {
			memcpy(rx_buffer, rx_buffer_temp, rx_index);
			uart_rx_callback_completed = true;
		}

		memset(rx_buffer_temp, 0, MODBUS_MAX_MESSAGE_LENGTH);
		rx_len = rx_index;
		rx_index = 0;
	}
}

void HAL_UART_ErrorCallback(UART_HandleTypeDef *huart) {
	if (huart->Instance == UART4) {
		if (huart->ErrorCode != HAL_UART_ERROR_NONE) {
			// Handle the error and restart reception
			HAL_UART_AbortReceive_IT(huart);
			HAL_GPIO_WritePin(RS485_Direction_GPIO_Port, RS485_Direction_Pin,
					0);
			//HAL_UART_Receive_IT(&huart1, &rx_temp_byte, 1); // Restart reception
			HAL_UARTEx_ReceiveToIdle_IT(huart, rx_buffer_temp,
			MODBUS_MAX_MESSAGE_LENGTH); // Restart reception
		}
	}
	memset(rx_buffer_temp, 0, sizeof(rx_buffer_temp)); // clear buffer
}
/* USER CODE END 4 */

void Error_Handler(void) {
	/* USER CODE BEGIN Error_Handler_Debug */
	/* User can add his own implementation to report the HAL error return state */
	__disable_irq();
	while (1) {
		HAL_GPIO_WritePin(debug_fault_GPIO_Port, debug_fault_Pin, SET);
	}
	/* USER CODE END Error_Handler_Debug */
}
